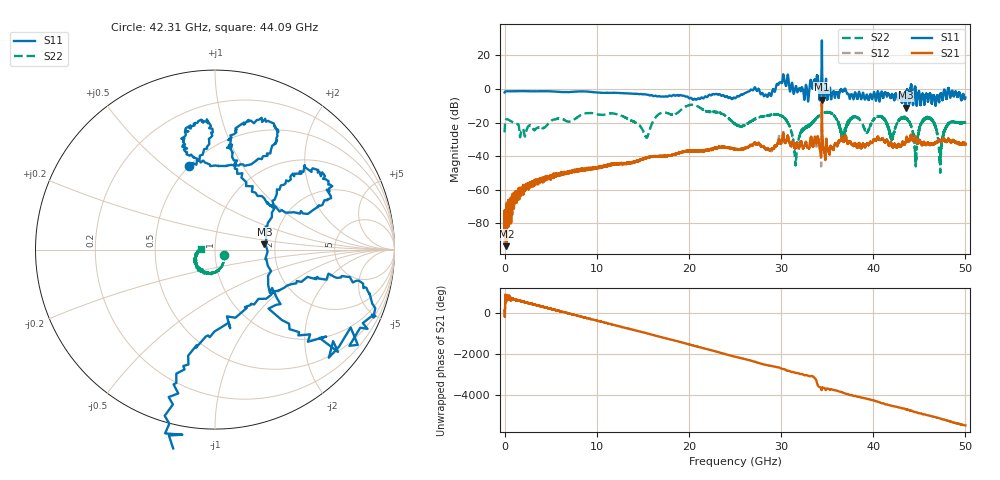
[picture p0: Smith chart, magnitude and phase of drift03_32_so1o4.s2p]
!Created with skrf (http://scikit-rf.org).
# Hz S RI R 50.0
!freq ReS11 ImS11 ReS21 ImS21 ReS12 ImS12 ReS22 ImS22
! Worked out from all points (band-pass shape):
!   10000 points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, 5.3 MHz to 50 GHz, reference 50 ohm
!   highest |S21| = -6.31 dB at 34.43 GHz (marker M1); lowest = -93.5 dB at 190.3 MHz (marker M2)
!   |S21| within 3 dB of the highest: 34.42754 GHz to 34.43454 GHz (6.995 MHz wide, 0.0203 % of centre)
!   lowest |S11| = -11.1 dB at 43.52 GHz (marker M3), VSWR 1.77, Z = 87.8 + j5.45 ohm
!   |S11| at or under -10 dB: 43.49185 GHz to 43.5418 GHz (49.95 MHz wide, 0.115 % of centre); 44.70965 GHz to 44.71063 GHz (978.9 kHz wide, 0.00219 % of centre); 46.76336 GHz to 46.76614 GHz (2.784 MHz wide, 0.00595 % of centre)
!   |S22| runs from -49.9 to -9.4 dB; largest |S21 - S12| = 0.15
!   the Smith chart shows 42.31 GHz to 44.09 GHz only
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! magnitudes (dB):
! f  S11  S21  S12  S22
! 5.3 MHz  -2.1  -82.6  -77.3  -25.8
! 190.3 MHz  -1.4  -93.5  -77.6  -18.1
! 2.445 GHz  -1.4  -57.5  -57.6  -23.5
! 8.34 GHz  -1.5  -47.4  -48.0  -15.3
! 15.39 GHz  -3.5  -40.9  -40.9  -28.7
! 16.67 GHz  -4.4  -40.2  -40.0  -15.3
! 20.45 GHz  -6.5  -36.8  -36.5  -9.5
! 25.01 GHz  -5.5  -35.9  -36.1  -20.7
! 29.95 GHz  4.0  -32.7  -32.0  -15.6
! 31.59 GHz  1.4  -33.7  -34.0  -45.2
! 33.34 GHz  2.5  -30.1  -30.6  -20.5
! 34.43 GHz  28.8  -6.3  -8.3  -14.5
! 36.69 GHz  -1.3  -29.9  -29.8  -26.2
! 37.93 GHz  -4.7  -32.8  -33.0  -16.8
! 41.67 GHz  -3.1  -33.4  -33.2  -23.5
! 43.52 GHz  -11.1  -31.5  -31.5  -17.6
! 44.61 GHz  -1.0  -29.1  -28.9  -45.7
! 45.32 GHz  -3.1  -32.9  -33.3  -19.2
! 46.27 GHz  -5.2  -32.8  -32.7  -18.4
! 47.28 GHz  -3.0  -30.8  -30.6  -42.3
! 48.15 GHz  0.4  -30.6  -30.0  -20.6
! 50 GHz  -5.2  -33.3  -33.0  -19.6
